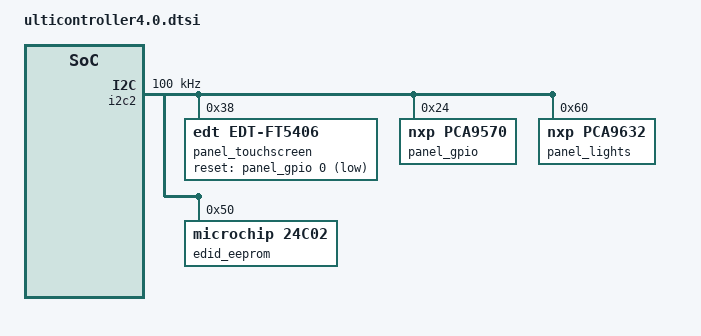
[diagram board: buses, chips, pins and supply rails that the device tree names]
/*
 * Copyright (C) 2020 - Ultimaker B.V.
 * Copyright (C) 2020 - Raymond Siudak <raysiudak@gmail.com>
*/


&i2c2 {
    clock-frequency = <100000>;
    panel_touchscreen: ft5426@38 {
        compatible = "edt,edt-ft5406";
        reg = <0x38>;
        poll-interval = <10>;
        reset-gpios = <&panel_gpio 0 GPIO_ACTIVE_LOW>;
        touchscreen-size-x = <800>;
        touchscreen-size-y = <320>;
    };

    panel_gpio: pca9570@24 {
        compatible = "nxp,pca9570";
        gpio-controller;
        #gpio-cells = <2>;
        reg = <0x24>;
        gpio-line-names = "TOUCH_RST", "TOUCH_INT", "PWR_DWN", "ENABLE";
    };

    panel_lights: pca9632@60 {
        compatible = "nxp,pca9632";
        #address-cells = <1>;
        #size-cells = <0>;
        reg = <0x60>;
        nxp,totem-pole;
        nxp,hw-blink;

        panel_backlight: backlight@3 {
            label = "white:panel_backlight";
            reg = <3>;
            linux,default-trigger = "default-on";
        };
    };

    edid_eeprom: 24c02@50 { /* 24LC02B 2K Microchip EEPROM */
        compatible = "microchip,24c02", "at24";
        reg = <0x50>;
    };
};
